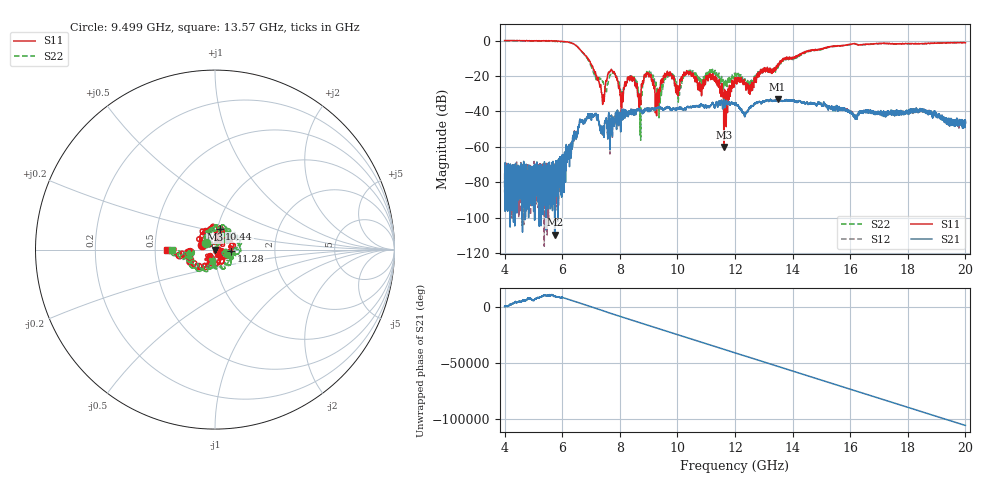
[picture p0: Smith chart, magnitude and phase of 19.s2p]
[Version] 2.0
! Rohde & Schwarz Vector Network Analyzer
! Rohde-Schwarz,ZNL20-2Port,1323001220200009,1.71.1.10-23.02.1.238
! Port Assignments:
! Nominal Port -> Actual Test Port
!  1 -> 1
!  2 -> 2
! Created: GMT+2 2025-01-17 12:12:55
# Hz S RI R 50
[Number of Ports] 2
[Two-Port Data Order] 21_12
! freq[Hz]  S11[Re]  S11[Im]  S21[Re]  S21[Im]  S12[Re]  S12[Im]  S22[Re]  S22[Im]
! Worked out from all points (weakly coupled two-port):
!   16001 points, 4 GHz to 20 GHz, reference 50 ohm
!   highest |S21| = -33.05 dB at 13.48 GHz (marker M1); lowest = -109.7 dB at 5.739 GHz (marker M2)
!   lowest |S11| = -60.1 dB at 11.61 GHz (marker M3), VSWR 1.00, Z = 50.1 - j0.077 ohm
!   |S11| at or under -10 dB: 6.885 GHz to 13.7 GHz (6.816 GHz wide, 66.2 % of centre); 13.71227 GHz to 13.74178 GHz (29.51 MHz wide, 0.215 % of centre); 13.94227 GHz to 13.96589 GHz (23.62 MHz wide, 0.169 % of centre) (the widest 3 of 9)
!   |S22| runs from -56.3 to 0.0 dB; largest |S21 - S12| = 0.0025
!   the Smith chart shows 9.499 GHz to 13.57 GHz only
!   S11 on the Smith chart (normalised r, x): 9.499 GHz: 0.87, +0.04; 10.44 GHz: 1.03, +0.24; 11.28 GHz: 1.20, -0.02; 13.57 GHz: 0.57, -0.00
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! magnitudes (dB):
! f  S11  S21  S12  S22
! 4 GHz  0.0  -79.8  -75.0  -0.2
! 5.739 GHz  -0.2  -109.7  -73.8  -0.4
! 6.667 GHz  -6.0  -45.4  -44.8  -6.0
! 7.401 GHz  -35.6  -52.6  -52.5  -23.2
! 7.726 GHz  -16.8  -45.3  -45.3  -18.7
! 8.048 GHz  -39.5  -41.6  -41.4  -32.2
! 8.43 GHz  -22.9  -41.0  -41.1  -21.4
! 8.715 GHz  -34.9  -39.3  -39.2  -38.9
! 9.005 GHz  -20.4  -38.7  -38.6  -18.7
! 9.334 GHz  -27.8  -38.1  -38.0  -31.2
! 9.499 GHz  -22.5  -38.9  -38.9  -24.2
! 9.764 GHz  -19.3  -39.2  -38.9  -19.7
! 10 GHz  -25.6  -38.3  -38.4  -26.7
! 10.44 GHz  -18.5  -37.6  -37.7  -17.6
! 11.28 GHz  -20.7  -37.2  -37.2  -18.2
! 11.61 GHz  -60.1  -33.4  -33.4  -24.9
! 12 GHz  -22.0  -36.4  -36.4  -19.7
! 13.48 GHz  -13.3  -33.1  -33.2  -14.0
! 13.57 GHz  -11.4  -33.7  -33.5  -12.5
! 14.67 GHz  -5.4  -35.5  -35.2  -5.9
! 17.33 GHz  -1.7  -41.8  -41.5  -1.8
! 20 GHz  -1.2  -46.5  -46.2  -1.2
